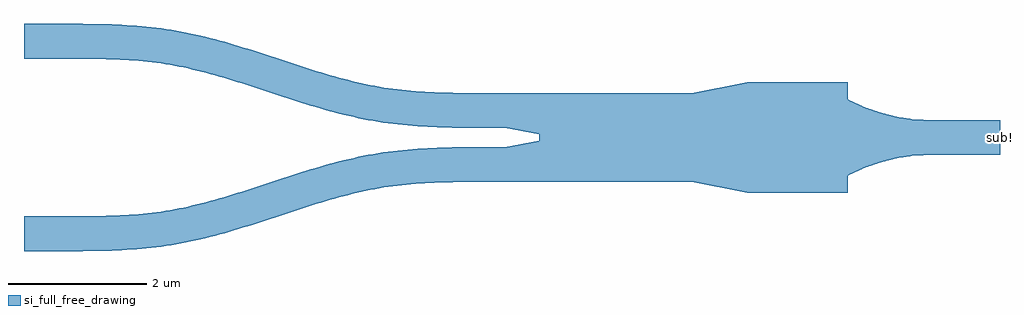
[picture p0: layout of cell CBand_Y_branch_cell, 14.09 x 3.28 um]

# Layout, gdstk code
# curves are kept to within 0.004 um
from math import pi, radians
import gdstk
lib = gdstk.Library(unit=1e-6, precision=1e-09)
def P(c, l, *ps):  # polygons
    for p in ps: c.add(gdstk.Polygon(p, *l))
si_full_free_drawing = (1002, 100)

adiabaticpaths_1 = lib.new_cell('AdiabaticPaths_1')
P(adiabaticpaths_1, si_full_free_drawing, [(0,-0.25),(0,0.25),(0,0.25),(1,0.25),(1,-0.25)])
adiabaticpaths_1.add(gdstk.Label('sub!', (0,0), layer=61, texttype=31))

parabolicpolygon = lib.new_cell('ParabolicPolygon')
P(parabolicpolygon, si_full_free_drawing, [(-1.2,-0.55),(-1.2,0.55),(-0.918,0.425),(-0.766,0.372),(-0.595,0.324),(-0.595,-0.324),(-0.766,-0.372),(-0.918,-0.425)],
  [(-0.595,-0.324),(-0.595,0.324),(-0.424,0.287),(-0.313,0.27),(-0.161,0.255),(0,0.25),(0,-0.25),(-0.161,-0.255),(-0.313,-0.27),(-0.424,-0.287)])
parabolicpolygon.add(gdstk.Label('sub!', (0,0), layer=61, texttype=31))

adiabaticpaths_3 = lib.new_cell('AdiabaticPaths_3')
P(adiabaticpaths_3, si_full_free_drawing, [(0,-0.8),(0,0.8),(0,0.8),(1.45,0.8),(1.45,-0.8)])
adiabaticpaths_3.add(gdstk.Label('sub!', (0,0), layer=61, texttype=31))

adiabaticpaths_5 = lib.new_cell('AdiabaticPaths_5')
P(adiabaticpaths_5, si_full_free_drawing, [(0,-0.8),(0,0.8),(0,0.8),(0.8,0.64),(0.8,-0.64)])
adiabaticpaths_5.add(gdstk.Label('sub!', (0,0), layer=61, texttype=31))

adiabaticpaths_7 = lib.new_cell('AdiabaticPaths_7')
P(adiabaticpaths_7, si_full_free_drawing, [(0,-0.64),(0,0.64),(0,0.64),(2.2,0.64),(2.2,-0.64)])
adiabaticpaths_7.add(gdstk.Label('sub!', (0,0), layer=61, texttype=31))

adiabaticpaths_9 = lib.new_cell('AdiabaticPaths_9')
P(adiabaticpaths_9, si_full_free_drawing, [(0,-0.25),(0,0.25),(0,0.25),(0.7,0.25),(0.7,-0.25)])
adiabaticpaths_9.add(gdstk.Label('sub!', (0,0), layer=61, texttype=31))

adiabaticpaths_11 = lib.new_cell('AdiabaticPaths_11')
P(adiabaticpaths_11, si_full_free_drawing, [(1.546,-0.331),(1.219,-0.289),(0.886,-0.265),(0.548,-0.253),(0,-0.25),(0,0.25),(0.488,0.248),(0.982,0.231),(1.339,0.201),(1.625,0.163)],
  [(3.04,-0.737),(2.519,-0.569),(2.13,-0.457),(1.806,-0.379),(1.546,-0.331),(1.625,0.163),(1.91,0.11),(2.326,0.008),(2.733,-0.112),(3.197,-0.263)],
  [(4.611,-1.163),(4.327,-1.11),(3.911,-1.008),(3.504,-0.888),(3.04,-0.737),(3.197,-0.263),(3.718,-0.431),(4.107,-0.543),(4.431,-0.621),(4.691,-0.669)],
  [(5.959,-1.25),(5.609,-1.245),(5.255,-1.231),(4.898,-1.201),(4.611,-1.163),(4.691,-0.669),(5.018,-0.711),(5.351,-0.735),(5.689,-0.747),(6.237,-0.75),(6.237,-1.25)])
adiabaticpaths_11.add(gdstk.Label('sub!', (0,0), layer=61, texttype=31))

adiabaticpaths_13 = lib.new_cell('AdiabaticPaths_13')
P(adiabaticpaths_13, si_full_free_drawing, [(0,-0.25),(0,0.25),(0,0.25),(0.5,0.25),(0.5,-0.25)])
adiabaticpaths_13.add(gdstk.Label('sub!', (0,0), layer=61, texttype=31))

adiabaticpaths_15 = lib.new_cell('AdiabaticPaths_15')
P(adiabaticpaths_15, si_full_free_drawing, [(0,-0.25),(0,0.25),(0.548,0.253),(0.886,0.265),(1.219,0.289),(1.546,0.331),(1.625,-0.163),(1.339,-0.201),(0.982,-0.231),(0.488,-0.248)],
  [(1.625,-0.163),(1.546,0.331),(1.806,0.379),(2.13,0.457),(2.519,0.569),(3.04,0.737),(3.197,0.263),(2.733,0.112),(2.326,-0.008),(1.91,-0.11)],
  [(3.197,0.263),(3.04,0.737),(3.504,0.888),(3.911,1.008),(4.327,1.11),(4.611,1.163),(4.691,0.669),(4.431,0.621),(4.107,0.543),(3.718,0.431)],
  [(4.691,0.669),(4.611,1.163),(4.898,1.201),(5.255,1.231),(5.749,1.248),(6.237,1.25),(6.237,0.75),(5.689,0.747),(5.351,0.735),(5.018,0.711)])
adiabaticpaths_15.add(gdstk.Label('sub!', (0,0), layer=61, texttype=31))

cband_y_branch_cell = lib.new_cell('CBand_Y_branch_cell')
P(cband_y_branch_cell, si_full_free_drawing, [(-6.65,0.05),(-7.15,0.14),(-6.65,0.14)],
  [(-7.15,-0.14),(-6.65,-0.05),(-6.65,-0.14)])
cband_y_branch_cell.add(gdstk.Reference(adiabaticpaths_1, (0,0), rotation=pi))
cband_y_branch_cell.add(gdstk.Reference(parabolicpolygon, (-1,0)))
cband_y_branch_cell.add(gdstk.Reference(adiabaticpaths_3, (-2.2,0), rotation=pi))
cband_y_branch_cell.add(gdstk.Reference(adiabaticpaths_5, (-3.65,0), rotation=pi))
cband_y_branch_cell.add(gdstk.Reference(adiabaticpaths_7, (-4.45,0), rotation=pi))
cband_y_branch_cell.add(gdstk.Reference(adiabaticpaths_9, (-6.65,0.39), rotation=pi))
cband_y_branch_cell.add(gdstk.Reference(adiabaticpaths_11, (-7.35,0.39), rotation=pi))
cband_y_branch_cell.add(gdstk.Reference(adiabaticpaths_13, (-13.587,1.39), rotation=pi))
cband_y_branch_cell.add(gdstk.Reference(adiabaticpaths_9, (-6.65,-0.39), rotation=pi))
cband_y_branch_cell.add(gdstk.Reference(adiabaticpaths_15, (-7.35,-0.39), rotation=pi))
cband_y_branch_cell.add(gdstk.Reference(adiabaticpaths_13, (-13.587,-1.39), rotation=pi))
cband_y_branch_cell.add(gdstk.Label('sub!', (0,0), layer=61, texttype=31))

lib.write_gds('CBand_Y_branch_cell.gds')
